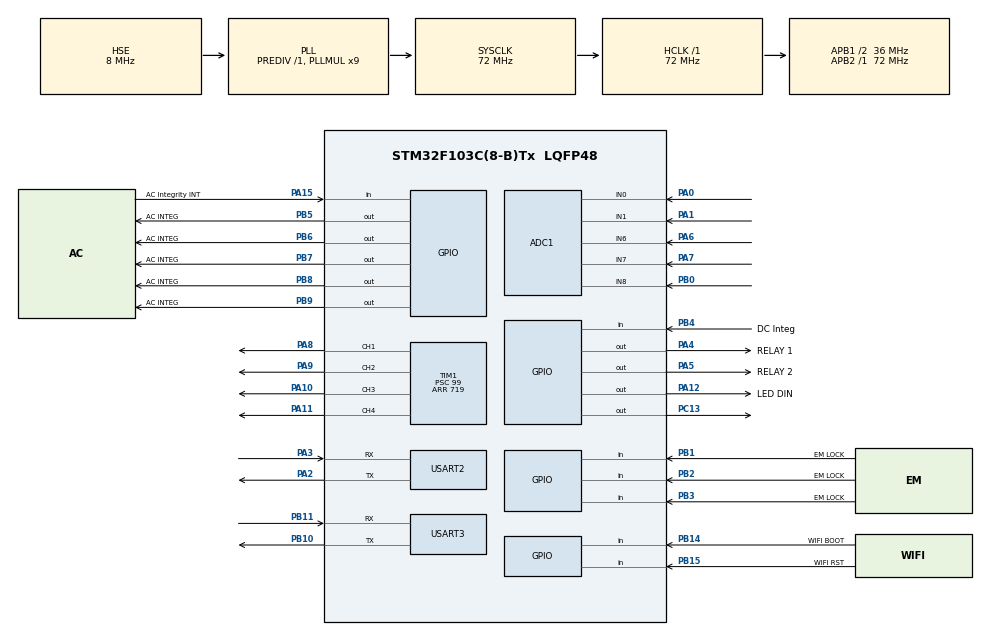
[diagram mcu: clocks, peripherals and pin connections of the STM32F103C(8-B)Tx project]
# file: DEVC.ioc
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ADC1.Channel-1\#ChannelRegularConversion=ADC_CHANNEL_0
ADC1.ContinuousConvMode=DISABLE
ADC1.NbrOfConversionFlag=1
ADC1.Rank-1\#ChannelRegularConversion=1
ADC1.SamplingTime-1\#ChannelRegularConversion=ADC_SAMPLETIME_7CYCLES_5
ADC1.master=1
Dma.ADC1.0.Direction=DMA_PERIPH_TO_MEMORY
Dma.ADC1.0.Instance=DMA1_Channel1
Dma.ADC1.0.MemDataAlignment=DMA_MDATAALIGN_HALFWORD
Dma.ADC1.0.MemInc=DMA_MINC_ENABLE
Dma.ADC1.0.Mode=DMA_CIRCULAR
Dma.ADC1.0.PeriphDataAlignment=DMA_PDATAALIGN_HALFWORD
Dma.ADC1.0.PeriphInc=DMA_PINC_DISABLE
Dma.ADC1.0.Priority=DMA_PRIORITY_LOW
Dma.Request0=ADC1
Mcu.Family=STM32F1
Mcu.Name=STM32F103C(8-B)Tx
Mcu.Package=LQFP48
NVIC.DMA1_Channel1_IRQn=true\:0\:0\:false\:false\:true\:false\:true
NVIC.PriorityGroup=NVIC_PRIORITYGROUP_4
NVIC.TIM1_UP_IRQn=true\:0\:0\:false\:false\:true\:true\:true
PA0-WKUP.Signal=ADCx_IN0
PA1.Signal=ADCx_IN1
PA10.Signal=S_TIM1_CH3
PA11.Signal=S_TIM1_CH4
PA12.GPIO_Label=LED DIN
PA12.Signal=GPIO_Output
PA13.Mode=Serial_Wire
PA13.Signal=SYS_JTMS-SWDIO
PA14.Mode=Serial_Wire
PA14.Signal=SYS_JTCK-SWCLK
PA15.GPIO_Label=AC Integrity INT
PA15.Signal=GPIO_Input
PA2.Mode=Asynchronous
PA2.Signal=USART2_TX
PA3.Mode=Asynchronous
PA3.Signal=USART2_RX
PA4.GPIO_Label=RELAY 1
PA4.Signal=GPIO_Output
PA5.GPIO_Label=RELAY 2
PA5.Signal=GPIO_Output
PA6.Signal=ADCx_IN6
PA7.Signal=ADCx_IN7
PA8.Signal=S_TIM1_CH1
PA9.Signal=S_TIM1_CH2
PB0.Signal=ADCx_IN8
PB1.GPIO_Label=EM LOCK
PB1.Signal=GPIO_Input
PB10.Mode=Asynchronous
PB10.Signal=USART3_TX
PB11.Mode=Asynchronous
PB11.Signal=USART3_RX
PB14.GPIO_Label=WIFI BOOT
PB14.Signal=GPIO_Input
PB15.GPIO_Label=WIFI RST
PB15.Signal=GPIO_Input
PB2.GPIO_Label=EM LOCK
PB2.Signal=GPIO_Input
PB3.GPIO_Label=EM LOCK
PB3.Signal=GPIO_Input
PB4.GPIO_Label=DC Integ
PB4.Signal=GPIO_Input
PB5.GPIO_Label=AC INTEG
PB5.Signal=GPIO_Output
PB6.GPIO_Label=AC INTEG
PB6.Signal=GPIO_Output
PB7.GPIO_Label=AC INTEG
PB7.Signal=GPIO_Output
PB8.GPIO_Label=AC INTEG
PB8.Signal=GPIO_Output
PB9.GPIO_Label=AC INTEG
PB9.Signal=GPIO_Output
PC13-TAMPER-RTC.Signal=GPIO_Output
PD0-OSC_IN.Mode=HSE-External-Oscillator
PD0-OSC_IN.Signal=RCC_OSC_IN
PD1-OSC_OUT.Mode=HSE-External-Oscillator
PD1-OSC_OUT.Signal=RCC_OSC_OUT
ProjectManager.HeapSize=0x200
ProjectManager.StackSize=0x400
ProjectManager.TargetToolchain=STM32CubeIDE
RCC.ADCPresc=RCC_ADCPCLK2_DIV6
RCC.AHBFreq_Value=72000000
RCC.APB1CLKDivider=RCC_HCLK_DIV2
RCC.APB1Freq_Value=36000000
RCC.APB1TimFreq_Value=72000000
RCC.APB2Freq_Value=72000000
RCC.APB2TimFreq_Value=72000000
RCC.HCLKFreq_Value=72000000
RCC.PLLMUL=RCC_PLL_MUL9
RCC.PLLSourceVirtual=RCC_PLLSOURCE_HSE
RCC.SYSCLKFreq_VALUE=72000000
RCC.SYSCLKSource=RCC_SYSCLKSOURCE_PLLCLK
RCC.USBFreq_Value=72000000
SH.ADCx_IN0.0=ADC1_IN0,IN0
SH.ADCx_IN1.0=ADC1_IN1,IN1
SH.ADCx_IN6.0=ADC1_IN6,IN6
SH.ADCx_IN7.0=ADC1_IN7,IN7
SH.ADCx_IN8.0=ADC1_IN8,IN8
SH.S_TIM1_CH1.0=TIM1_CH1,PWM Generation1 CH1
SH.S_TIM1_CH2.0=TIM1_CH2,PWM Generation2 CH2
SH.S_TIM1_CH3.0=TIM1_CH3,PWM Generation3 CH3
SH.S_TIM1_CH4.0=TIM1_CH4,PWM Generation4 CH4
TIM1.AutoReloadPreload=TIM_AUTORELOAD_PRELOAD_ENABLE
TIM1.Channel-PWM\ Generation1\ CH1=TIM_CHANNEL_1
TIM1.Channel-PWM\ Generation2\ CH2=TIM_CHANNEL_2
TIM1.Channel-PWM\ Generation3\ CH3=TIM_CHANNEL_3
TIM1.Channel-PWM\ Generation4\ CH4=TIM_CHANNEL_4
TIM1.Period=719
TIM1.Prescaler=99
TIM1.Pulse-PWM\ Generation1\ CH1=0x0
USART2.VirtualMode=VM_ASYNC
USART3.VirtualMode=VM_ASYNC
VP_ADC1_TempSens_Input.Mode=IN-TempSens
VP_TIM1_VS_ClockSourceINT.Mode=Internal
board=custom

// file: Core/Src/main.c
/* USER CODE BEGIN Header */
/**
  ******************************************************************************
  * @file           : main.c
  * @brief          : Main program body
  ******************************************************************************
  * @attention
  *
  * <h2><center>&copy; Copyright (c) 2021 STMicroelectronics.
  * All rights reserved.</center></h2>
  *
  * This software component is licensed by ST under BSD 3-Clause license,
  * the "License"; You may not use this file except in compliance with the
  * License. You may obtain a copy of the License at:
  *                        opensource.org/licenses/BSD-3-Clause
  *
  ******************************************************************************
  */
/* USER CODE END Header */
#include "main.h"

/* USER CODE BEGIN Includes */
#include "EVCH.h"
#include "INDH.h"
/* USER CODE END Includes */

/* USER CODE BEGIN PD */
#define INDH_PERIOD		100
#define INDH_OFFSET		0
#define EVCH_PERIOD		100
#define EVCH_OFFSET		10
#define ADC_PERIOD		100
#define ADC_OFFSET		50
/* USER CODE END PD */

ADC_HandleTypeDef hadc1;
DMA_HandleTypeDef hdma_adc1;

TIM_HandleTypeDef htim1;

UART_HandleTypeDef huart2;
UART_HandleTypeDef huart3;

/* USER CODE BEGIN PV */
uint16_t adc_data[1];

volatile uint16_t INDH_MAIN_TIMER = INDH_OFFSET;
volatile uint16_t EVCH_MAIN_TIMER = EVCH_OFFSET;
volatile uint16_t ADC_UPDATE_TIMER = ADC_OFFSET;

/* USER CODE END PV */

void SystemClock_Config(void);
static void MX_GPIO_Init(void);
static void MX_TIM1_Init(void);
static void MX_DMA_Init(void);
static void MX_ADC1_Init(void);
static void MX_USART2_UART_Init(void);
static void MX_USART3_UART_Init(void);

/* USER CODE BEGIN 0 */
void Set_PWM_Duty_Value(uint32_t duty_percent ,uint32_t Channel)
{
    TIM_OC_InitTypeDef sConfigOC;
    uint32_t value;
    value = (TIM1_RELOAD_VALUE * duty_percent) / 100;
    HAL_TIM_PWM_Stop(&htim1, Channel);
    sConfigOC.OCMode = TIM_OCMODE_PWM1;
    sConfigOC.Pulse = value;
    sConfigOC.OCPolarity = TIM_OCPOLARITY_HIGH;
    sConfigOC.OCNPolarity = TIM_OCNPOLARITY_HIGH;
    sConfigOC.OCFastMode = TIM_OCFAST_DISABLE;
    sConfigOC.OCIdleState = TIM_OCIDLESTATE_RESET;
    sConfigOC.OCNIdleState = TIM_OCNIDLESTATE_RESET;
    if (HAL_TIM_PWM_ConfigChannel(&htim1, &sConfigOC, Channel ) != HAL_OK)
    {
      Error_Handler();
    }
    if (duty_percent != 0)
    {
    HAL_TIM_PWM_Start(&htim1, TIM_CHANNEL_2);
    }
}

/*
 * ISR fired when TIMER complete its cycle
 * */
void HAL_TIM_PeriodElapsedCallback(TIM_HandleTypeDef *htim)
{
	__NOP();
}

void HAL_ADC_ConvCpltCallback(ADC_HandleTypeDef* hadc)
{
	__NOP();
}

void HAL_IncTick(void)
{
	uwTick += uwTickFreq;
	INDH_MAIN_TIMER += uwTickFreq;
	EVCH_MAIN_TIMER += uwTickFreq;
	ADC_UPDATE_TIMER += uwTickFreq;
}
/* USER CODE END 0 */

int main(void)
{

  /* MCU Configuration--------------------------------------------------------*/

  /* Reset of all peripherals, Initializes the Flash interface and the Systick. */
  HAL_Init();

  /* Configure the system clock */
  SystemClock_Config();

  /* Initialize all configured peripherals */
  MX_GPIO_Init();
  MX_TIM1_Init();
  MX_DMA_Init();
  MX_ADC1_Init();
  MX_USART2_UART_Init();
  MX_USART3_UART_Init();
  /* USER CODE BEGIN 2 */

  HAL_TIM_Base_Start(&htim1);
  HAL_ADC_Start_DMA(&hadc1,(uint32_t*)adc_data,1);
  HAL_TIM_PWM_Start(&htim1, TIM_CHANNEL_1);
  EVCH_init();
  INDH_Set_Indication_type(IND_FADE);
  /* USER CODE END 2 */

  /* Infinite loop */
  while (1)
  {

    /* USER CODE BEGIN 3 */

	 if (INDH_MAIN_TIMER >= INDH_PERIOD)
	 {
		 INDH_MAIN_TIMER = 0;
		 INDH_MainFunction();
	 }
	 if (EVCH_MAIN_TIMER >= EVCH_PERIOD)
	 {
		 EVCH_MAIN_TIMER = 0;
		 HAL_ADC_Start_DMA(&hadc1,(uint32_t*)adc_data,1);
		 EVCH_MainFunction();
	 }
	 if (ADC_UPDATE_TIMER >= ADC_PERIOD)
	 {
		 ADC_UPDATE_TIMER = 0;
		 HAL_ADC_Start_DMA(&hadc1,(uint32_t*)adc_data,1);
	 }

  }
  /* USER CODE END 3 */
}

void SystemClock_Config(void)
{
  RCC_OscInitTypeDef RCC_OscInitStruct = {0};
  RCC_ClkInitTypeDef RCC_ClkInitStruct = {0};
  RCC_PeriphCLKInitTypeDef PeriphClkInit = {0};

  /** Initializes the RCC Oscillators according to the specified parameters
  * in the RCC_OscInitTypeDef structure.
  */
  RCC_OscInitStruct.OscillatorType = RCC_OSCILLATORTYPE_HSE;
  RCC_OscInitStruct.HSEState = RCC_HSE_ON;
  RCC_OscInitStruct.HSEPredivValue = RCC_HSE_PREDIV_DIV1;
  RCC_OscInitStruct.HSIState = RCC_HSI_ON;
  RCC_OscInitStruct.PLL.PLLState = RCC_PLL_ON;
  RCC_OscInitStruct.PLL.PLLSource = RCC_PLLSOURCE_HSE;
  RCC_OscInitStruct.PLL.PLLMUL = RCC_PLL_MUL9;
  if (HAL_RCC_OscConfig(&RCC_OscInitStruct) != HAL_OK)
  {
    Error_Handler();
  }
  /** Initializes the CPU, AHB and APB buses clocks
  */
  RCC_ClkInitStruct.ClockType = RCC_CLOCKTYPE_HCLK|RCC_CLOCKTYPE_SYSCLK
                              |RCC_CLOCKTYPE_PCLK1|RCC_CLOCKTYPE_PCLK2;
  RCC_ClkInitStruct.SYSCLKSource = RCC_SYSCLKSOURCE_PLLCLK;
  RCC_ClkInitStruct.AHBCLKDivider = RCC_SYSCLK_DIV1;
  RCC_ClkInitStruct.APB1CLKDivider = RCC_HCLK_DIV2;
  RCC_ClkInitStruct.APB2CLKDivider = RCC_HCLK_DIV1;

  if (HAL_RCC_ClockConfig(&RCC_ClkInitStruct, FLASH_LATENCY_2) != HAL_OK)
  {
    Error_Handler();
  }
  PeriphClkInit.PeriphClockSelection = RCC_PERIPHCLK_ADC;
  PeriphClkInit.AdcClockSelection = RCC_ADCPCLK2_DIV6;
  if (HAL_RCCEx_PeriphCLKConfig(&PeriphClkInit) != HAL_OK)
  {
    Error_Handler();
  }
}

static void MX_ADC1_Init(void)
{

  ADC_ChannelConfTypeDef sConfig = {0};

  /** Common config
  */
  hadc1.Instance = ADC1;
  hadc1.Init.ScanConvMode = ADC_SCAN_DISABLE;
  hadc1.Init.ContinuousConvMode = DISABLE;
  hadc1.Init.DiscontinuousConvMode = DISABLE;
  hadc1.Init.ExternalTrigConv = ADC_SOFTWARE_START;
  hadc1.Init.DataAlign = ADC_DATAALIGN_RIGHT;
  hadc1.Init.NbrOfConversion = 1;
  if (HAL_ADC_Init(&hadc1) != HAL_OK)
  {
    Error_Handler();
  }
  /** Configure Regular Channel
  */
  sConfig.Channel = ADC_CHANNEL_0;
  sConfig.Rank = ADC_REGULAR_RANK_1;
  sConfig.SamplingTime = ADC_SAMPLETIME_7CYCLES_5;
  if (HAL_ADC_ConfigChannel(&hadc1, &sConfig) != HAL_OK)
  {
    Error_Handler();
  }

}

static void MX_TIM1_Init(void)
{

  TIM_ClockConfigTypeDef sClockSourceConfig = {0};
  TIM_MasterConfigTypeDef sMasterConfig = {0};
  TIM_OC_InitTypeDef sConfigOC = {0};
  TIM_BreakDeadTimeConfigTypeDef sBreakDeadTimeConfig = {0};

  htim1.Instance = TIM1;
  htim1.Init.Prescaler = 99;
  htim1.Init.CounterMode = TIM_COUNTERMODE_UP;
  htim1.Init.Period = 719;
  htim1.Init.ClockDivision = TIM_CLOCKDIVISION_DIV1;
  htim1.Init.RepetitionCounter = 0;
  htim1.Init.AutoReloadPreload = TIM_AUTORELOAD_PRELOAD_ENABLE;
  if (HAL_TIM_Base_Init(&htim1) != HAL_OK)
  {
    Error_Handler();
  }
  sClockSourceConfig.ClockSource = TIM_CLOCKSOURCE_INTERNAL;
  if (HAL_TIM_ConfigClockSource(&htim1, &sClockSourceConfig) != HAL_OK)
  {
    Error_Handler();
  }
  if (HAL_TIM_PWM_Init(&htim1) != HAL_OK)
  {
    Error_Handler();
  }
  sMasterConfig.MasterOutputTrigger = TIM_TRGO_RESET;
  sMasterConfig.MasterSlaveMode = TIM_MASTERSLAVEMODE_DISABLE;
  if (HAL_TIMEx_MasterConfigSynchronization(&htim1, &sMasterConfig) != HAL_OK)
  {
    Error_Handler();
  }
  sConfigOC.OCMode = TIM_OCMODE_PWM1;
  sConfigOC.Pulse = 0x0;
  sConfigOC.OCPolarity = TIM_OCPOLARITY_HIGH;
  sConfigOC.OCNPolarity = TIM_OCNPOLARITY_HIGH;
  sConfigOC.OCFastMode = TIM_OCFAST_DISABLE;
  sConfigOC.OCIdleState = TIM_OCIDLESTATE_RESET;
  sConfigOC.OCNIdleState = TIM_OCNIDLESTATE_RESET;
  if (HAL_TIM_PWM_ConfigChannel(&htim1, &sConfigOC, TIM_CHANNEL_1) != HAL_OK)
  {
    Error_Handler();
  }
  sConfigOC.Pulse = 0;
  if (HAL_TIM_PWM_ConfigChannel(&htim1, &sConfigOC, TIM_CHANNEL_2) != HAL_OK)
  {
    Error_Handler();
  }
  if (HAL_TIM_PWM_ConfigChannel(&htim1, &sConfigOC, TIM_CHANNEL_3) != HAL_OK)
  {
    Error_Handler();
  }
  if (HAL_TIM_PWM_ConfigChannel(&htim1, &sConfigOC, TIM_CHANNEL_4) != HAL_OK)
  {
    Error_Handler();
  }
  sBreakDeadTimeConfig.OffStateRunMode = TIM_OSSR_DISABLE;
  sBreakDeadTimeConfig.OffStateIDLEMode = TIM_OSSI_DISABLE;
  sBreakDeadTimeConfig.LockLevel = TIM_LOCKLEVEL_OFF;
  sBreakDeadTimeConfig.DeadTime = 0;
  sBreakDeadTimeConfig.BreakState = TIM_BREAK_DISABLE;
  sBreakDeadTimeConfig.BreakPolarity = TIM_BREAKPOLARITY_HIGH;
  sBreakDeadTimeConfig.AutomaticOutput = TIM_AUTOMATICOUTPUT_DISABLE;
  if (HAL_TIMEx_ConfigBreakDeadTime(&htim1, &sBreakDeadTimeConfig) != HAL_OK)
  {
    Error_Handler();
  }
  HAL_TIM_MspPostInit(&htim1);

}

static void MX_USART2_UART_Init(void)
{

  huart2.Instance = USART2;
  huart2.Init.BaudRate = 115200;
  huart2.Init.WordLength = UART_WORDLENGTH_8B;
  huart2.Init.StopBits = UART_STOPBITS_1;
  huart2.Init.Parity = UART_PARITY_NONE;
  huart2.Init.Mode = UART_MODE_TX_RX;
  huart2.Init.HwFlowCtl = UART_HWCONTROL_NONE;
  huart2.Init.OverSampling = UART_OVERSAMPLING_16;
  if (HAL_UART_Init(&huart2) != HAL_OK)
  {
    Error_Handler();
  }

}

static void MX_USART3_UART_Init(void)
{

  huart3.Instance = USART3;
  huart3.Init.BaudRate = 115200;
  huart3.Init.WordLength = UART_WORDLENGTH_8B;
  huart3.Init.StopBits = UART_STOPBITS_1;
  huart3.Init.Parity = UART_PARITY_NONE;
  huart3.Init.Mode = UART_MODE_TX_RX;
  huart3.Init.HwFlowCtl = UART_HWCONTROL_NONE;
  huart3.Init.OverSampling = UART_OVERSAMPLING_16;
  if (HAL_UART_Init(&huart3) != HAL_OK)
  {
    Error_Handler();
  }

}

static void MX_DMA_Init(void)
{

  /* DMA controller clock enable */
  __HAL_RCC_DMA1_CLK_ENABLE();

  /* DMA interrupt init */
  /* DMA1_Channel1_IRQn interrupt configuration */
  HAL_NVIC_SetPriority(DMA1_Channel1_IRQn, 0, 0);
  HAL_NVIC_EnableIRQ(DMA1_Channel1_IRQn);

}

static void MX_GPIO_Init(void)
{
  GPIO_InitTypeDef GPIO_InitStruct = {0};

  /* GPIO Ports Clock Enable */
  __HAL_RCC_GPIOC_CLK_ENABLE();
  __HAL_RCC_GPIOD_CLK_ENABLE();
  __HAL_RCC_GPIOA_CLK_ENABLE();
  __HAL_RCC_GPIOB_CLK_ENABLE();

  /*Configure GPIO pin Output Level */
  HAL_GPIO_WritePin(GPIOC, GPIO_PIN_13, GPIO_PIN_RESET);

  /*Configure GPIO pin Output Level */
  HAL_GPIO_WritePin(GPIOA, RELAY_1_Pin|RELAY_2_Pin|LED_DIN_Pin, GPIO_PIN_RESET);

  /*Configure GPIO pin Output Level */
  HAL_GPIO_WritePin(GPIOB, AC_INTEG_Pin|AC_INTEGB6_Pin|AC_INTEGB7_Pin|AC_INTEGB8_Pin
                          |AC_INTEGB9_Pin, GPIO_PIN_RESET);

  /*Configure GPIO pin : PC13 */
  GPIO_InitStruct.Pin = GPIO_PIN_13;
  GPIO_InitStruct.Mode = GPIO_MODE_OUTPUT_PP;
  GPIO_InitStruct.Pull = GPIO_NOPULL;
  GPIO_InitStruct.Speed = GPIO_SPEED_FREQ_LOW;
  HAL_GPIO_Init(GPIOC, &GPIO_InitStruct);

  /*Configure GPIO pins : RELAY_1_Pin RELAY_2_Pin LED_DIN_Pin */
  GPIO_InitStruct.Pin = RELAY_1_Pin|RELAY_2_Pin|LED_DIN_Pin;
  GPIO_InitStruct.Mode = GPIO_MODE_OUTPUT_PP;
  GPIO_InitStruct.Pull = GPIO_NOPULL;
  GPIO_InitStruct.Speed = GPIO_SPEED_FREQ_LOW;
  HAL_GPIO_Init(GPIOA, &GPIO_InitStruct);

  /*Configure GPIO pins : EM_LOCK_Pin EM_LOCKB2_Pin WIFI_BOOT_Pin WIFI_RST_Pin
                           EM_LOCKB3_Pin DC_Integ_Pin */
  GPIO_InitStruct.Pin = EM_LOCK_Pin|EM_LOCKB2_Pin|WIFI_BOOT_Pin|WIFI_RST_Pin
                          |EM_LOCKB3_Pin|DC_Integ_Pin;
  GPIO_InitStruct.Mode = GPIO_MODE_INPUT;
  GPIO_InitStruct.Pull = GPIO_NOPULL;
  HAL_GPIO_Init(GPIOB, &GPIO_InitStruct);

  /*Configure GPIO pin : AC_Integrity_INT_Pin */
  GPIO_InitStruct.Pin = AC_Integrity_INT_Pin;
  GPIO_InitStruct.Mode = GPIO_MODE_INPUT;
  GPIO_InitStruct.Pull = GPIO_NOPULL;
  HAL_GPIO_Init(AC_Integrity_INT_GPIO_Port, &GPIO_InitStruct);

  /*Configure GPIO pins : AC_INTEG_Pin AC_INTEGB6_Pin AC_INTEGB7_Pin AC_INTEGB8_Pin
                           AC_INTEGB9_Pin */
  GPIO_InitStruct.Pin = AC_INTEG_Pin|AC_INTEGB6_Pin|AC_INTEGB7_Pin|AC_INTEGB8_Pin
                          |AC_INTEGB9_Pin;
  GPIO_InitStruct.Mode = GPIO_MODE_OUTPUT_PP;
  GPIO_InitStruct.Pull = GPIO_NOPULL;
  GPIO_InitStruct.Speed = GPIO_SPEED_FREQ_LOW;
  HAL_GPIO_Init(GPIOB, &GPIO_InitStruct);

}

void Error_Handler(void)
{
  __disable_irq();
  while (1)
  {
  }
}

/************************ (C) COPYRIGHT STMicroelectronics *****END OF FILE****/
